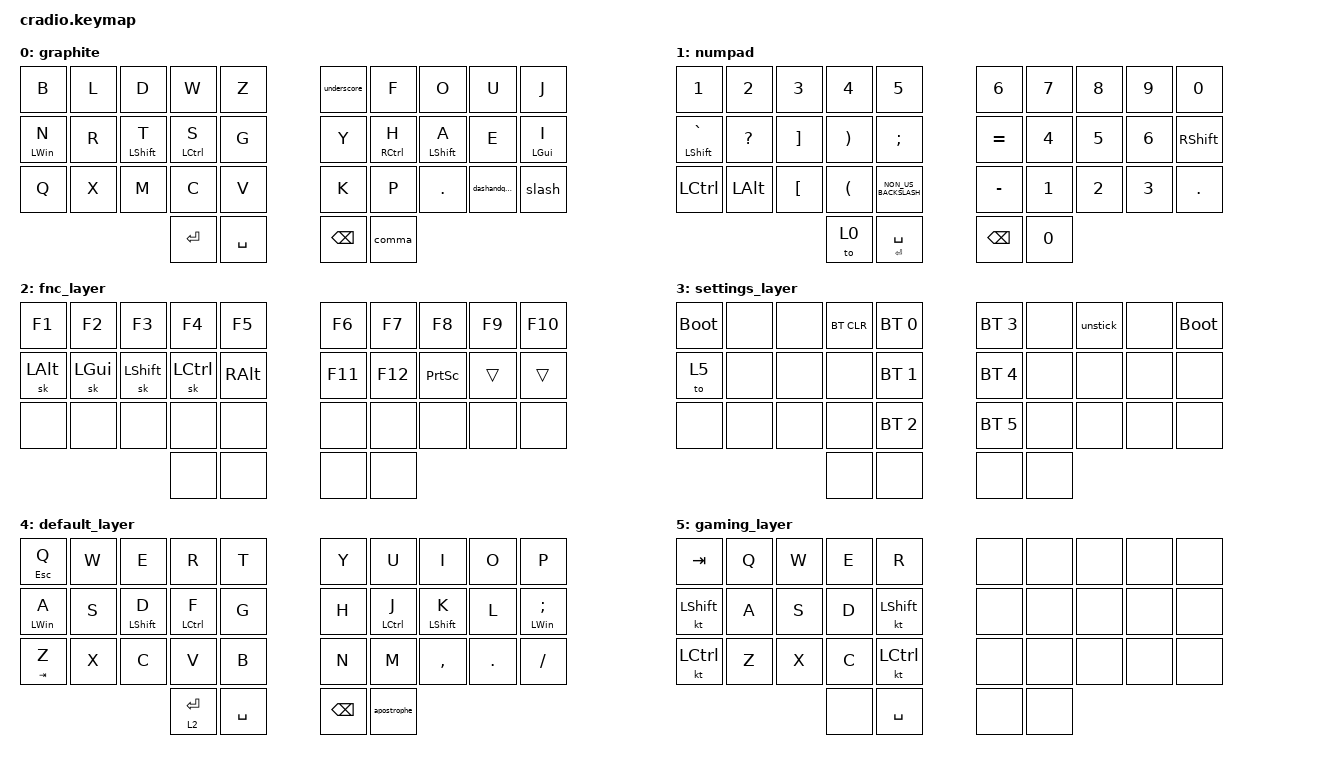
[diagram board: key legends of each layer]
/*
 * Copyright (c) 2020 The ZMK Contributors
 *
 * SPDX-License-Identifier: MIT
 */

#include "keymap_italian.h"
#include <behaviors.dtsi>
#include <dt-bindings/zmk/bt.h>
#include <dt-bindings/zmk/keys.h>
#include <dt-bindings/zmk/keys.h>

// Layer definitions

#define BASE 0
#define SYM 1
#define EXT 2
#define FNC 3
#define SYM2 4
#define ACCENT 5
#define SETTINGS 6

// -----------------

&mt {
    //  flavor = "tap-preferred";
    // tapping_term_ms = <200>;

    bindings = <&kp>, <&kp>;

    tapping-term-ms = <300>;
    flavor = "tap-preferred";
};

&sk { ignore-modifiers; };

&mmv {
    time-to-max-speed-ms = <210>;
    acceleration-exponent = <1>;
    delay-ms = <0>;
};

/ {
    macros {
        // sometimes my device thinks a modifier is being held down
        // pressing all modifiers fixes it.

        unstick: unstick {
            label = "ZM_unstick";
            compatible = "zmk,behavior-macro";
            #binding-cells = <0>;
            bindings = <&kp LSHIFT &kp LALT &kp RALT &kp LGUI &kp RGUI &kp ASTERISK>;
        };

        numwordandlayer1: numwordandlayer1 {
            compatible = "zmk,behavior-macro";
            #binding-cells = <0>;
            bindings = <&numword &to 1>;
            label = "NUMWORDANDLAYER1";
        };
    };

    combos {
        compatible = "zmk,combos";

        // both right thumb keys
        // internal-left & external-right thumb keys

        combo_sym2 {
            timeout-ms = <200>;
            key-positions = <31 33>;
            bindings = <&to 1>;
        };

        // both left thumb keys

        combo_settings {
            timeout-ms = <300>;
            key-positions = <30 31>;
            bindings = <&mo 3>;
        };

        home_panic {
            bindings = <&to 0>;
            key-positions = <31 32>;
            layers = <1 5 0>;
        };

        nav {
            bindings = <&to 0>;
            key-positions = <30 33>;
        };

        fnc {
            bindings = <&mo 2>;
            key-positions = <32 33>;
        };
    };

    behaviors {
        behaviors {
        pinkyhm: pinkyhm {
            compatible = "zmk,behavior-hold-tap";
            label = "PINKYHM";
            bindings = <&kp>, <&kp>;

            #binding-cells = <2>;
            tapping-term-ms = <350>;
            quick-tap-ms = <(-1)>;
            require-prior-idle-ms = <(-1)>;
            flavor = "tap-preferred";
        };

        underscore: underscore {
            compatible = "zmk,behavior-mod-morph";
            label = "UNDERSCORE";
            bindings = <&kp SQT>, <&kp UNDERSCORE>;

            #binding-cells = <0>;
            mods = <(MOD_LSFT)>;
            keep-mods = <(MOD_LSFT)>;
        };

        dashandqoutes: dashandqoutes {
            compatible = "zmk,behavior-mod-morph";
            label = "DASHANDQOUTES";
            bindings = <&kp MINUS>, <&kp DOUBLE_QUOTES>;

            #binding-cells = <0>;
            mods = <(MOD_LSFT)>;
            keep-mods = <(MOD_LSFT)>;
        };

        apostrophe: apostrophe {
            compatible = "zmk,behavior-tap-dance";
            label = "APOSTROPHE";
            #binding-cells = <0>;
            bindings = <&kp SQT>, <&to 1>;
        };

        comma: comma {
            compatible = "zmk,behavior-tap-dance";
            label = "COMMA";
            #binding-cells = <0>;
            bindings = <&kp COMMA>, <&numwordandlayer1>, <&kp ASTERISK>;

            tapping-term-ms = <250>;
        };

        slash: slash {
            compatible = "zmk,behavior-mod-morph";
            label = "SLASH";
            bindings = <&kp SLASH>, <&kp LESS_THAN>;

            #binding-cells = <0>;
            mods = <(MOD_LSFT)>;
            keep-mods = <(MOD_LSFT)>;
        };

        numword: numword {
            compatible = "zmk,behavior-caps-word";
            label = "NUMWORD";
            #binding-cells = <0>;
            mods = <(MOD_LSFT|MOD_LALT|MOD_RCTL|MOD_RSFT|MOD_RALT)>;
            continue-list = <NUMBER_1 NUMBER_2 NUMBER_3 NUMBER_4 NUMBER_5 NUMBER_6 NUMBER_7 NUMBER_8 NUMBER_9 NUMBER_0 PERIOD LEFT_PARENTHESIS RIGHT_PARENTHESIS RIGHT_BRACKET LEFT_BRACKET LEFT_BRACE RIGHT_BRACE QUESTION BACKSPACE GRAVE EXCLAMATION AT_SIGN POUND DOLLAR PERCENT CARET AMPERSAND ASTERISK>;
        };
    };

    keymap {
        compatible = "zmk,keymap";

        // Base alpha layer

        graphite {
            bindings = <
&kp B                &kp L  &kp D             &kp W               &kp Z        &underscore  &kp F                &kp O       &kp U           &kp J
&pinkyhm LEFT_WIN N  &kp R  &mt LEFT_SHIFT T  &mt LEFT_CONTROL S  &kp G        &kp Y        &mt RIGHT_CONTROL H  &mt LSHIFT A       &kp E           &pinkyhm LEFT_GUI I
&kp Q                &kp X  &kp M             &kp C               &kp V        &kp K        &kp P                &kp DOT     &dashandqoutes  &slash
                                              &kp ENTER           &kp SPACE    &kp BSPC     &comma
            >;
        };

        numpad {
            bindings = <
&kp NUMBER_1      &kp NUMBER_2  &kp NUMBER_3       &kp NUMBER_4           &kp N5                  &kp NUMBER_6   &kp N7  &kp N8  &kp N9  &kp N0
&mt LSHIFT GRAVE  &kp QUESTION  &kp RIGHT_BRACKET  &kp RIGHT_PARENTHESIS  &kp SEMICOLON           &kp EQUAL      &kp N4  &kp N5  &kp N6  &kp RSHIFT
&kp LEFT_CONTROL  &kp LALT      &kp LEFT_BRACKET   &kp LEFT_PARENTHESIS   &kp NON_US_BACKSLASH    &kp MINUS      &kp N1  &kp N2  &kp N3  &kp PERIOD
                                                   &to 0                  &mt ENTER SPACE         &kp BACKSPACE  &kp N0
            >;
        };

        fnc_layer {
            bindings = <
&kp F1    &kp F2    &kp F3      &kp F4     &kp F5      &kp F6   &kp F7   &kp F8           &kp F9  &kp F10
&sk LALT  &sk LGUI  &sk LSHIFT  &sk LCTRL  &kp RALT    &kp F11  &kp F12  &kp PRINTSCREEN  &trans  &trans
&none     &none     &none       &none      &none       &none    &none    &none            &none   &none
                                &none      &none       &none    &none
            >;
        };

        settings_layer {
            bindings = <
&bootloader  &none  &none  &bt BT_CLR  &bt BT_SEL 0    &bt BT_SEL 3  &none  &unstick  &none  &bootloader
&to 5        &none  &none  &none       &bt BT_SEL 1    &bt BT_SEL 4  &none  &none     &none  &none
&none        &none  &none  &none       &bt BT_SEL 2    &bt BT_SEL 5  &none  &none     &none  &none
                           &none       &none           &none         &none
            >;
        };

        default_layer {
            bindings = <
&mt ESCAPE Q         &kp W  &kp E         &kp R               &kp T        &kp Y          &kp U               &kp I         &kp O    &kp P
&pinkyhm LEFT_WIN A  &kp S  &mt LSHIFT D  &mt LEFT_CONTROL F  &kp G        &kp H          &mt LEFT_CONTROL J  &mt LSHIFT K  &kp L    &pinkyhm LEFT_WIN SEMICOLON
&mt TAB Z            &kp X  &kp C         &kp V               &kp B        &kp N          &kp M               &kp COMMA     &kp DOT  &kp SLASH
                                          &lt 2 ENTER         &kp SPACE    &kp BACKSPACE  &apostrophe
            >;
        };

        gaming_layer {
            bindings = <
&kp TAB           &kp Q  &kp W  &kp E  &kp R               &none  &none  &none  &none  &none
&kt LEFT_SHIFT    &kp A  &kp S  &kp D  &kt LEFT_SHIFT      &none  &none  &none  &none  &none
&kt LEFT_CONTROL  &kp Z  &kp X  &kp C  &kt LEFT_CONTROL    &none  &none  &none  &none  &none
                                &none  &kp SPACE           &none  &none
            >;
        };
    };
};
